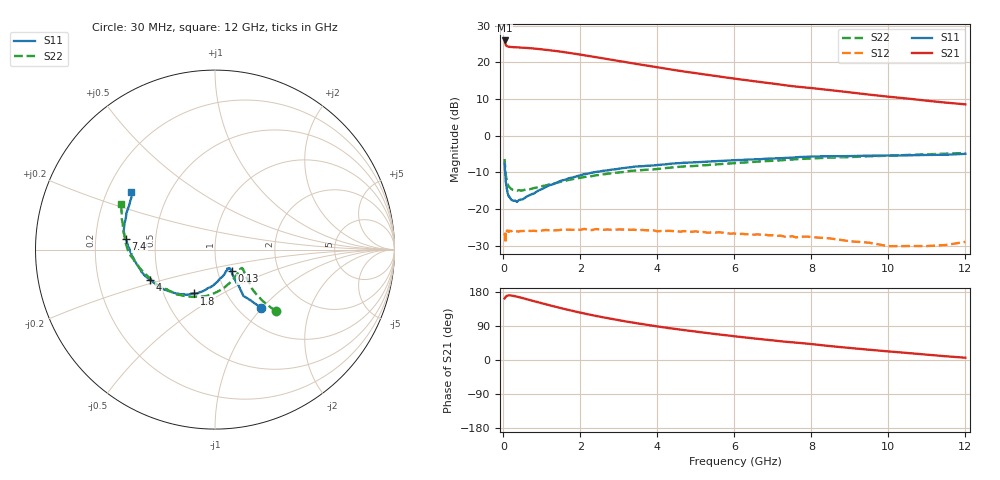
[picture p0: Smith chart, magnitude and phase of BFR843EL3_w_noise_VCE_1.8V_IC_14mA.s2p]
! Infineon Technologies  Discrete & RF Semiconductors
! BFR843EL3
! VCE =  1.8 V,  IC =  14 mA
! Common Emitter S-Parameters:  Aug 2013
# GHz  S  MA  R  50
!  f  S11  S21  S12  S22
! GHz  MAG  ANG  MAG  ANG  MAG  ANG  MAG  ANG
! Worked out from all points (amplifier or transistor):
!   103 points, 30 MHz to 12 GHz, reference 50 ohm
!   highest |S21| = 25.9 dB at 30 MHz (marker M1)
!   |S21| within 3 dB of that: start of sweep to 1.455 GHz
!   unconditionally stable (mu >= 1): 4.813 GHz to end of sweep
!   at 400 MHz: K = 1.00, MSG = 25.1 dB, |S12| = -26.1 dB
!   at 3.7 GHz: K = 0.91, MSG = 22.5 dB, |S12| = -25.8 dB
!   at 12 GHz: K = 2.45, MAG = 12.0 dB, |S12| = -28.9 dB
!   lowest NFmin = 0.97 dB at 450 MHz
!   S11 on the Smith chart (normalised r, x): 30 MHz: 1.26, -0.99; 130 MHz: 1.16, -0.29; 1.8 GHz: 0.71, -0.38; 4 GHz: 0.45, -0.18; 7.4 GHz: 0.34, +0.05; 12 GHz: 0.30, +0.28
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0.03  0.4158 -51.6  19.82 162.5  0.0435 29.0  0.4812 -45.5
0.04  0.3372 -55.5  18.55 164.0  0.046 22.6  0.3934 -47.1
0.06  0.2363 -56.6  17.24 167.0  0.0506 22.2  0.3003 -46.6
0.09  0.1851 -55.6  16.62 169.4  0.0508 11.2  0.2384 -41.7
0.13  0.1519 -52.7  16.32 170.4  0.0493 8.7  0.2056 -37.8
0.25  0.1298 -53.5  16.09 169.4  0.0509 5.4  0.1816 -34.3
0.7  0.1566 -75.0  15.54 157.8  0.0503 3.7  0.1871 -53.2
1.2  0.2115 -97.2  14.58 144.4  0.0513 1.6  0.2175 -76.0
1.5  0.2433 -106.8  13.93 136.7  0.0521 0.9  0.2361 -87.1
1.8  0.2701 -115.2  13.2 129.5  0.0521 1.1  0.2554 -97.2
2.1  0.2993 -122.7  12.46 122.7  0.0536 -0.4  0.2733 -106.4
2.6  0.3331 -133.8  11.29 112.4  0.0522 -0.2  0.2972 -118.0
3  0.3547 -140.6  10.39 105.0  0.0527 -1.2  0.3155 -126.0
3.5  0.3811 -148.5  9.406 96.4  0.0511 -3.2  0.3361 -134.6
4  0.3981 -154.9  8.547 88.6  0.0497 -3.9  0.3516 -141.5
4.1  0.4025 -156.0  8.38 87.1  0.0503 -3.1  0.356 -142.6
5.1  0.4369 -167.5  6.976 73.5  0.0485 -5.2  0.3917 -154.9
6.1  0.4659 -176.4  5.891 61.5  0.0454 -5.8  0.4261 -164.6
7.4  0.4989 173.4  4.803 47.5  0.0418 -4.8  0.4708 -175.7
8.5  0.5245 164.0  4.168 36.6  0.0397 -5.0  0.5024 174.8
10.5  0.5397 152.0  3.204 18.5  0.0313 9.8  0.546 161.9
12  0.5654 145.7  2.67 6.0  0.0357 30.2  0.5813 154.3
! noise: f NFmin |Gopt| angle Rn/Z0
0.45  0.97  0.06  98  0.12
0.9  0.97  0.06  104  0.12
1.5  0.99  0.07  109  0.1
1.9  1  0.08  114  0.11
2.4  1.01  0.09  119  0.11
3.5  1.04  0.11  132  0.11
5.5  1.08  0.18  159  0.09
8  1.14  0.29  187  0.07
10  1.17  0.42  215  0.06
